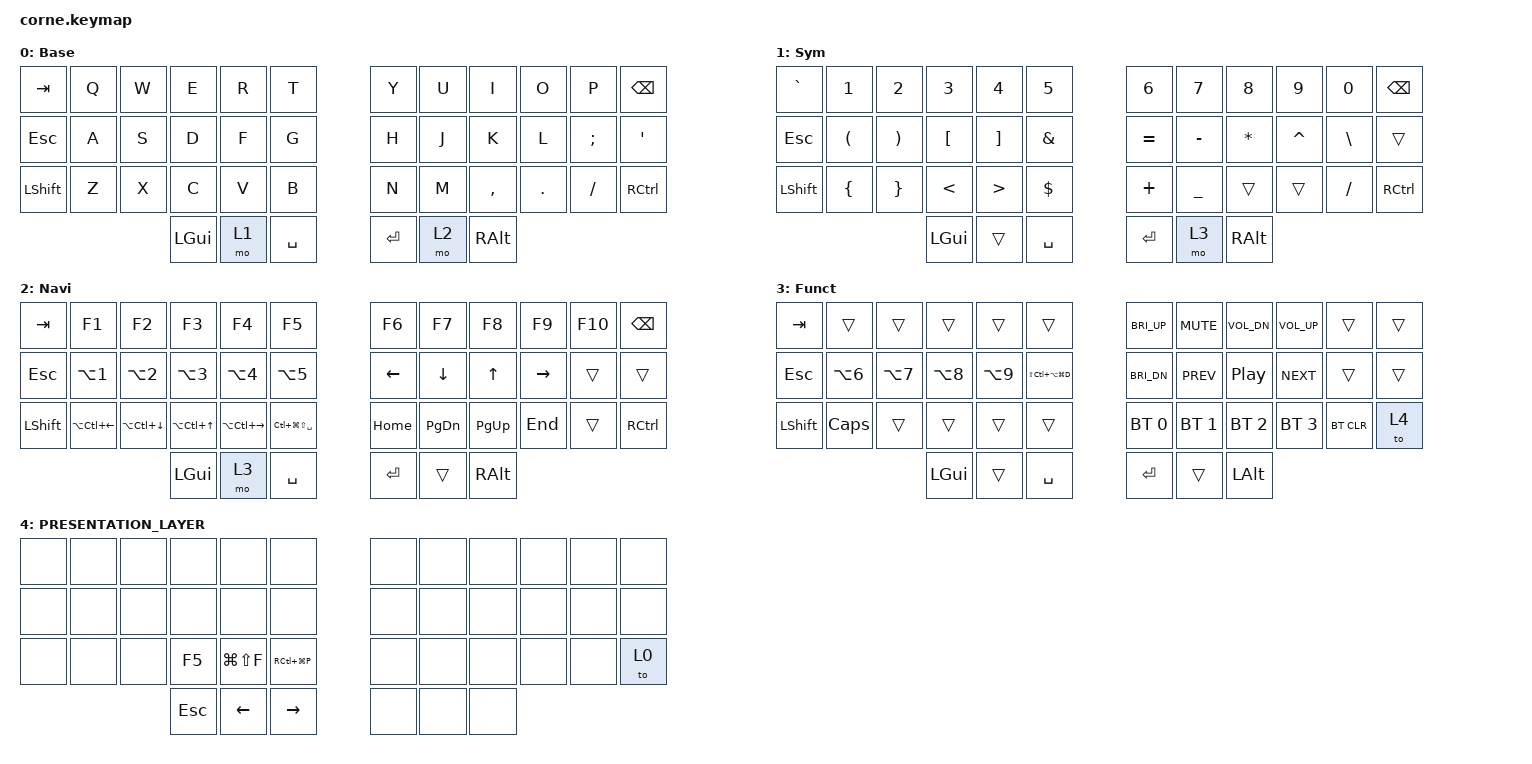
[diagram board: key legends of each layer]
/*
 * Copyright (c) 2020 The ZMK Contributors
 *
 * SPDX-License-Identifier: MIT
 */

#include <behaviors.dtsi>
#include <dt-bindings/zmk/bt.h>
#include <dt-bindings/zmk/keys.h>

/ {
    behaviors {
        lht: lht {
            compatible = "zmk,behavior-hold-tap";
            label = "HOLD_TAB_LAYER";
            bindings = <&mo>, <&lt>;

            #binding-cells = <2>;
            tapping-term-ms = <200>;
        };

        khp: khp {
            compatible = "zmk,behavior-hold-tap";
            label = "KHP";
            bindings = <&kp>, <&kp>;

            #binding-cells = <2>;
            tapping-term-ms = <200>;
            flavor = "tap-preferred";
        };
    };

    combos {
        compatible = "zmk,combos";

        off {
            bindings = <&soft_off>;
            key-positions = <0 24 35 11>;
        };
    };

    keymap {
        compatible = "zmk,keymap";

        default_layer {
            // -----------------------------------------------------------------------------------------
            // |  TAB |  Q  |  W  |  E  |  R  |  T  |   |  Y  |  U   |  I  |  O  |  P  | BKSP |
            // |  ESC |  A  |  S  |  D  |  F  |  G  |   |  H  |  J   |  K  |  L  |  ;  |  '   |
            // | SHFT |  Z  |  X  |  C  |  V  |  B  |   |  N  |  M   |  ,  |  .  |  /  | CTRL |
            //                    | GUI | LWR | SPC |   | ENT | RSE  | ALT |

            display-name = "Base";
            bindings = <
&kp TAB     &kp Q  &kp W  &kp E     &kp R  &kp T        &kp Y    &kp U  &kp I      &kp O    &kp P     &kp BSPC
&kp ESCAPE  &kp A  &kp S  &kp D     &kp F  &kp G        &kp H    &kp J  &kp K      &kp L    &kp SEMI  &kp SQT
&kp LSHFT   &kp Z  &kp X  &kp C     &kp V  &kp B        &kp N    &kp M  &kp COMMA  &kp DOT  &kp FSLH  &kp RCTRL
                          &kp LGUI  &mo 1  &kp SPACE    &kp RET  &mo 2  &kp RALT
            >;
        };

        lower_layer {
            // -----------------------------------------------------------------------------------------
            // |  `   |  1  |  2  |  3  |  4  |  5  |   |  6  |  7  |  8  |  9  |  0  |  =   |
            // | ESC  | BT1 | BT2 | BT3 | BT4 | BT5 |   | LFT | DWN |  UP | RGT |  -  |  \   |
            // | SHFT |     |     |     |     |     |   | HME | PGD | PGU | END |     | CTRL |
            //                    | GUI |     | SPC |   | ENT |     | ALT |

            display-name = "Sym";
            bindings = <
&kp GRAVE   &kp N1                &kp N2                 &kp N3            &kp N4             &kp N5           &kp N6     &kp N7          &kp N8     &kp N9     &kp N0         &kp BACKSPACE
&kp ESCAPE  &kp LEFT_PARENTHESIS  &kp RIGHT_PARENTHESIS  &kp LEFT_BRACKET  &kp RIGHT_BRACKET  &kp AMPERSAND    &kp EQUAL  &kp MINUS       &kp ASTRK  &kp CARET  &kp BACKSLASH  &trans
&kp LSHFT   &kp LEFT_BRACE        &kp RIGHT_BRACE        &kp LESS_THAN     &kp GREATER_THAN   &kp DOLLAR       &kp PLUS   &kp UNDERSCORE  &trans     &trans     &kp SLASH      &kp RCTRL
                                                         &kp LGUI          &trans             &kp SPACE        &kp RET    &mo 3           &kp RALT
            >;
        };

        raise_layer {
            // -----------------------------------------------------------------------------------------
            // |  TAB |  !  |  @  |  #  |  $  |  %  |   |  ^  |  &  |  (  |  )  |  `  | BKSP |
            // | CTRL |     |     |     |     |     |   |  -  |  =  |  [  |  ]  |  \  |      |
            // | SHFT |     |     |     |     |     |   |  _  |  +  |  {  |  }  | "|" | CTRL |
            //                    | GUI |     | SPC |   | ENT |     | ALT |

            display-name = "Navi";
            bindings = <
&kp TAB     &kp F1                  &kp F2                  &kp F3                &kp F4             &kp F5                   &kp F6          &kp F7         &kp F8        &kp F9     &kp F10  &kp BSPC
&kp ESCAPE  &kp LA(NUMBER_1)        &kp LA(NUMBER_2)        &kp LA(NUMBER_3)      &kp LA(NUMBER_4)   &kp LA(N5)               &kp LEFT_ARROW  &kp DOWN       &kp UP_ARROW  &kp RIGHT  &trans   &trans
&kp LSHFT   &kp LA(LC(LEFT_ARROW))  &kp LA(LC(DOWN_ARROW))  &kp LA(LC(UP_ARROW))  &kp LA(LC(RIGHT))  &kp LC(LG(LS(SPACE)))    &kp HOME        &kp PAGE_DOWN  &kp PAGE_UP   &kp END    &trans   &kp RCTRL
                                                            &kp LGUI              &mo 3              &kp SPACE                &kp RET         &trans         &kp RALT
            >;
        };

        FUNCTION_LAYER {
            display-name = "Funct";
            bindings = <
&kp TAB         &trans            &trans      &trans      &trans      &trans                   &kp C_BRI_UP  &kp K_MUTE    &kp C_VOL_DN      &kp C_VOL_UP  &trans      &trans
&kp ESCAPE      &kp LA(NUMBER_6)  &kp LA(N7)  &kp LA(N8)  &kp LA(N9)  &kp LS(LC(LA(LG(D))))    &kp C_BRI_DN  &kp C_PREV    &kp C_PLAY_PAUSE  &kp C_NEXT    &trans      &trans
&kp LEFT_SHIFT  &kp CAPSLOCK      &trans      &trans      &trans      &trans                   &bt BT_SEL 0  &bt BT_SEL 1  &bt BT_SEL 2      &bt BT_SEL 3  &bt BT_CLR  &to 4
                                              &kp LGUI    &trans      &kp SPACE                &kp RET       &trans        &kp LEFT_ALT
            >;
        };

        PRESENTATION_LAYER {
            bindings = <
&none  &none  &none  &none    &none          &none            &none  &none  &none  &none  &none  &none
&none  &none  &none  &none    &none          &none            &none  &none  &none  &none  &none  &none
&none  &none  &none  &kp F5   &kp LG(LS(F))  &kp RC(LG(P))    &none  &none  &none  &none  &none  &to 0
                     &kp ESC  &kp LEFT       &kp RIGHT        &none  &none  &none
            >;
        };
    };
};
